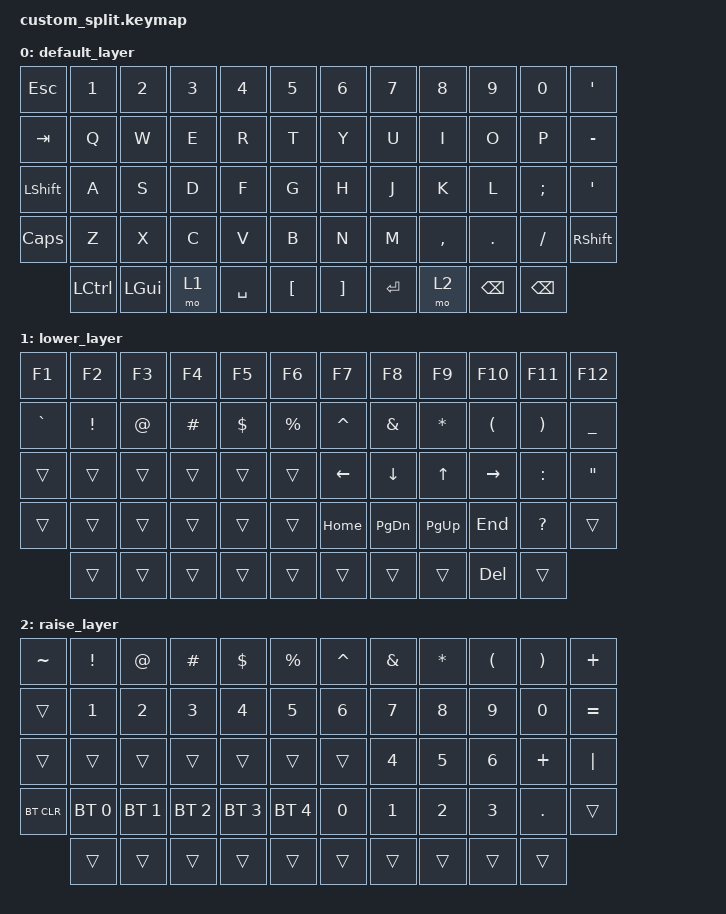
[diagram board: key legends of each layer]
/*
 * Copyright (c) 2023 Custom Split
 *
 * SPDX-License-Identifier: MIT
 */

#include <behaviors.dtsi>
#include <dt-bindings/zmk/keys.h>
#include <dt-bindings/zmk/bt.h>

/ {
    keymap {
        compatible = "zmk,keymap";

        default_layer {
            // Custom layout based on your specification:
            // Row 0: esc,1,2,3,4,5,6,7,8,9,0,'
            // Row 1: tab, q to p in qwerty, -
            // Row 2: left shift, a to l qwerty, ; , '
            // Row 3: caps lock z to m qwerty, comma, . / r shift
            // Row 4: control, windows, up layer, space, [, ], enter, down layer, backspace, (one more)
            bindings = <
   &kp ESC   &kp N1   &kp N2   &kp N3   &kp N4   &kp N5   &kp N6   &kp N7   &kp N8    &kp N9    &kp N0   &kp SQT   
   &kp TAB   &kp Q    &kp W    &kp E    &kp R    &kp T    &kp Y    &kp U    &kp I     &kp O     &kp P    &kp MINUS 
   &kp LSHFT &kp A    &kp S    &kp D    &kp F    &kp G    &kp H    &kp J    &kp K     &kp L     &kp SEMI &kp SQT  
   &kp CAPS  &kp Z    &kp X    &kp C    &kp V    &kp B    &kp N    &kp M    &kp COMMA &kp DOT   &kp FSLH &kp RSHFT
             &kp LCTRL &kp LGUI &mo 1   &kp SPACE &kp LBKT &kp RBKT &kp RET  &mo 2    &kp BSPC  &kp BSPC
            >;
        };

        lower_layer {
            // Function keys, symbols, and navigation
            bindings = <
   &kp F1    &kp F2   &kp F3   &kp F4   &kp F5   &kp F6   &kp F7   &kp F8   &kp F9   &kp F10  &kp F11   &kp F12   
   &kp GRAVE &kp EXCL &kp AT   &kp HASH &kp DLLR &kp PRCNT &kp CARET &kp AMPS &kp STAR &kp LPAR &kp RPAR  &kp UNDER 
   &trans    &trans   &trans   &trans   &trans   &trans   &kp LEFT &kp DOWN &kp UP   &kp RIGHT &kp COLON &kp DQT 
   &trans    &trans   &trans   &trans   &trans   &trans   &kp HOME &kp PG_DN &kp PG_UP &kp END &kp QMARK &trans   
             &trans   &trans   &trans   &trans   &trans   &trans   &trans   &trans   &kp DEL  &trans  
            >;
        };

        raise_layer {
            // Numbers, symbols, and system controls
            bindings = <
   &kp TILDE &kp EXCL &kp AT   &kp HASH &kp DLLR &kp PRCNT &kp CARET &kp AMPS &kp STAR &kp LPAR &kp RPAR  &kp PLUS  
   &trans    &kp N1   &kp N2   &kp N3   &kp N4   &kp N5   &kp N6   &kp N7   &kp N8   &kp N9   &kp N0    &kp EQUAL
   &trans    &trans   &trans   &trans   &trans   &trans   &trans   &kp N4   &kp N5   &kp N6   &kp PLUS  &kp PIPE  
   &bt BT_CLR &bt BT_SEL 0 &bt BT_SEL 1 &bt BT_SEL 2 &bt BT_SEL 3 &bt BT_SEL 4 &kp N0 &kp N1 &kp N2 &kp N3 &kp DOT &trans 
             &trans   &trans   &trans   &trans   &trans   &trans   &trans   &trans   &trans   &trans  
            >;
        };
    };
};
